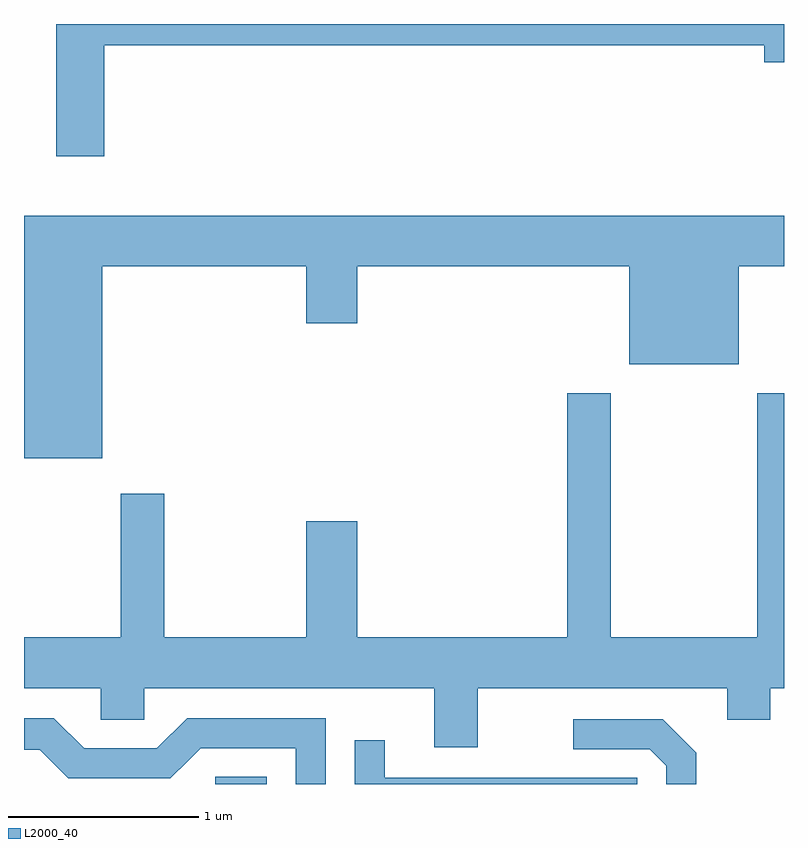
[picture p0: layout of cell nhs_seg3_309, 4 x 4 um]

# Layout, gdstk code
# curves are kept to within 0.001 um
import gdstk
lib = gdstk.Library(unit=1e-6, precision=1e-09)
def R(c, l, rs):  # rectangles x0, y0, x1, y1
    for r in rs: c.add(gdstk.rectangle(r[:2], r[2:], *l))
def P(c, l, *ps):  # polygons
    for p in ps: c.add(gdstk.Polygon(p, *l))
L2000_40 = (2000, 40)

nhs_seg3_309 = lib.new_cell('nhs_seg3_309')
R(nhs_seg3_309, L2000_40, [(194.618,1189.892,194.889,1189.929)])
P(nhs_seg3_309, L2000_40, [(194.034,1193.781),(197.506,1193.781),(197.506,1193.691),(197.611,1193.691),(197.611,1193.892),(193.781,1193.892),(193.781,1193.196),(194.034,1193.196)],
  [(194.024,1192.616),(195.096,1192.616),(195.096,1192.316),(195.364,1192.316),(195.364,1192.616),(196.796,1192.616),(196.796,1192.101),(197.374,1192.101),(197.374,1192.616),(197.611,1192.616),(197.611,1192.884),(193.611,1192.884),(193.611,1191.606),(194.024,1191.606)],
  [(195.999,1190.396),(197.311,1190.396),(197.311,1190.231),(197.539,1190.231),(197.539,1190.396),(197.611,1190.396),(197.611,1191.949),(197.471,1191.949),(197.471,1190.664),(196.699,1190.664),(196.699,1191.949),(196.471,1191.949),(196.471,1190.664),(195.364,1190.664),(195.364,1191.274),(195.096,1191.274),(195.096,1190.664),(194.349,1190.664),(194.349,1191.419),(194.121,1191.419),(194.121,1190.664),(193.611,1190.664),(193.611,1190.396),(194.016,1190.396),(194.016,1190.231),(194.244,1190.231),(194.244,1190.396),(195.771,1190.396),(195.771,1190.086),(195.999,1190.086)],
  [(195.199,1190.239),(194.469,1190.239),(194.309,1190.079),(193.927,1190.079),(193.767,1190.239),(193.611,1190.239),(193.611,1190.071),(193.694,1190.071),(193.844,1189.921),(194.382,1189.921),(194.542,1190.081),(195.041,1190.081),(195.041,1189.892),(195.199,1189.892)],
  [(197.149,1190.057),(196.972,1190.234),(196.503,1190.234),(196.503,1190.076),(196.904,1190.076),(196.991,1189.989),(196.991,1189.892),(197.149,1189.892)],
  [(196.839,1189.924),(195.509,1189.924),(195.509,1190.123),(195.351,1190.123),(195.351,1189.892),(196.839,1189.892)])

lib.write_gds('nhs_seg3_309.gds')
